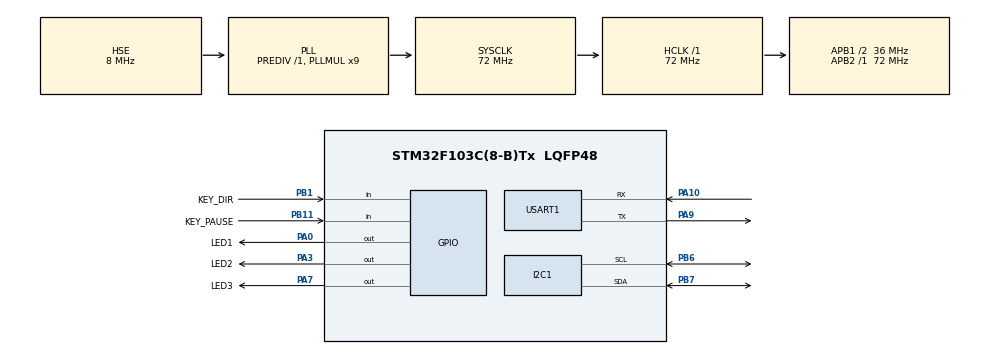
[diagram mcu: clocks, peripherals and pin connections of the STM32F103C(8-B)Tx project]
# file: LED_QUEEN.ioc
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Dma.Request0=USART1_TX
Dma.USART1_TX.0.Direction=DMA_MEMORY_TO_PERIPH
Dma.USART1_TX.0.Instance=DMA1_Channel4
Dma.USART1_TX.0.MemDataAlignment=DMA_MDATAALIGN_BYTE
Dma.USART1_TX.0.MemInc=DMA_MINC_ENABLE
Dma.USART1_TX.0.Mode=DMA_NORMAL
Dma.USART1_TX.0.PeriphDataAlignment=DMA_PDATAALIGN_BYTE
Dma.USART1_TX.0.PeriphInc=DMA_PINC_DISABLE
Dma.USART1_TX.0.Priority=DMA_PRIORITY_LOW
I2C1.I2C_Mode=I2C_Fast
Mcu.Family=STM32F1
Mcu.Name=STM32F103C(8-B)Tx
Mcu.Package=LQFP48
NVIC.DMA1_Channel4_IRQn=true\:0\:0\:false\:false\:true\:false\:true\:true
NVIC.PriorityGroup=NVIC_PRIORITYGROUP_4
NVIC.USART1_IRQn=true\:0\:0\:false\:false\:true\:true\:true\:true
PA0-WKUP.GPIO_Label=LED1
PA0-WKUP.Signal=GPIO_Output
PA10.Mode=Asynchronous
PA10.Signal=USART1_RX
PA13.Mode=Serial_Wire
PA13.Signal=SYS_JTMS-SWDIO
PA14.Mode=Serial_Wire
PA14.Signal=SYS_JTCK-SWCLK
PA3.GPIO_Label=LED2
PA3.Signal=GPIO_Output
PA7.GPIO_Label=LED3
PA7.Signal=GPIO_Output
PA9.Mode=Asynchronous
PA9.Signal=USART1_TX
PB1.GPIO_Label=KEY_DIR
PB1.GPIO_PuPd=GPIO_PULLUP
PB1.Signal=GPIO_Input
PB11.GPIO_Label=KEY_PAUSE
PB11.GPIO_PuPd=GPIO_PULLUP
PB11.Signal=GPIO_Input
PB6.Mode=I2C
PB6.Signal=I2C1_SCL
PB7.Mode=I2C
PB7.Signal=I2C1_SDA
PD0-OSC_IN.Mode=HSE-External-Oscillator
PD0-OSC_IN.Signal=RCC_OSC_IN
PD1-OSC_OUT.Mode=HSE-External-Oscillator
PD1-OSC_OUT.Signal=RCC_OSC_OUT
ProjectManager.HeapSize=0x200
ProjectManager.StackSize=0x400
ProjectManager.TargetToolchain=STM32CubeIDE
RCC.AHBFreq_Value=72000000
RCC.APB1CLKDivider=RCC_HCLK_DIV2
RCC.APB1Freq_Value=36000000
RCC.APB1TimFreq_Value=72000000
RCC.APB2Freq_Value=72000000
RCC.APB2TimFreq_Value=72000000
RCC.HCLKFreq_Value=72000000
RCC.PLLMUL=RCC_PLL_MUL9
RCC.PLLSourceVirtual=RCC_PLLSOURCE_HSE
RCC.SYSCLKFreq_VALUE=72000000
RCC.SYSCLKSource=RCC_SYSCLKSOURCE_PLLCLK
RCC.USBFreq_Value=72000000
USART1.VirtualMode=VM_ASYNC
board=custom

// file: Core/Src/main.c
/* USER CODE BEGIN Header */
/**
  ******************************************************************************
  * @file           : main.c
  * @brief          : Main program body
  ******************************************************************************
  * @attention
  *
  * Copyright (c) 2026 STMicroelectronics.
  * All rights reserved.
  *
  * This software is licensed under terms that can be found in the LICENSE file
  * in the root directory of this software component.
  * If no LICENSE file comes with this software, it is provided AS-IS.
  *
  ******************************************************************************
  */
/* USER CODE END Header */
#include "main.h"
#include "dma.h"
#include "i2c.h"
#include "usart.h"
#include "gpio.h"

/* USER CODE BEGIN Includes */
#include <stdio.h>
#include "OLED.h"
/* USER CODE END Includes */

/* USER CODE BEGIN PTD */
typedef struct
{
    uint8_t running;
    uint8_t dir;
    uint16_t step_ms;
    uint8_t led;
} RunState;

typedef struct
{
    uint8_t raw;
    uint8_t stable;
    uint32_t t_change;
} KeyState;

#define PKT_LEN  6
typedef struct
{
    uint8_t buf[PKT_LEN];
    uint8_t cnt;
} PktState;

/* USER CODE END PTD */

/* USER CODE BEGIN PD */
#define LED_N        3
#define STEP_DEFAULT 500

#define RB_SIZE 32

#define PKT_HEAD 0xAA
/* USER CODE END PD */

/* USER CODE BEGIN PV */
static RunState g_run = {1, 0, STEP_DEFAULT, 1};

static uint32_t g_led_tick = 0;

static KeyState g_key_dir = {1, 1, 0};
static KeyState g_key_pause = {1, 1, 0};

static uint8_t g_uart_ch = 0;

static volatile uint8_t g_rb[RB_SIZE];
static volatile uint8_t g_rb_head = 0;
static volatile uint8_t g_rb_tail = 0;

static PktState g_pkt = {{0}, 0};

static char g_tx_buf[64];
static volatile uint8_t g_tx_busy = 0;
static volatile uint8_t g_tx_pending = 0;

static RunState g_ui_last;
static uint8_t  g_ui_valid = 0;
/* USER CODE END PV */

void SystemClock_Config(void);

/* USER CODE BEGIN 0 */
static void Led_Show(uint8_t idx)
{
    HAL_GPIO_WritePin(LED1_GPIO_Port, LED1_Pin, (idx == 1) ? GPIO_PIN_SET : GPIO_PIN_RESET);
    HAL_GPIO_WritePin(LED2_GPIO_Port, LED2_Pin, (idx == 2) ? GPIO_PIN_SET : GPIO_PIN_RESET);
    HAL_GPIO_WritePin(LED3_GPIO_Port, LED3_Pin, (idx == 3) ? GPIO_PIN_SET : GPIO_PIN_RESET);
}

static uint8_t Led_Next(uint8_t cur, uint8_t dir)
{
    if (dir == 0)
        return (cur >= LED_N) ? 1 : (uint8_t)(cur + 1);
    return (cur <= 1) ? LED_N : (uint8_t)(cur - 1);
}

static uint8_t Key_Edge(KeyState* k, GPIO_TypeDef* port, uint16_t pin)
{
    uint8_t raw = (HAL_GPIO_ReadPin(port, pin) == GPIO_PIN_RESET) ? 0 : 1;

    if (raw != k->raw)
    {
        k->raw = raw;
        k->t_change = HAL_GetTick();
        return 0;
    }

    if (raw != k->stable && (HAL_GetTick() - k->t_change) >= 20)
    {
        k->stable = raw;
        return (uint8_t)(k->stable == 0);
    }

    return 0;
}

static void Uart_RequestFeedback(void)
{
    g_tx_pending = 1;
}

static void Rb_Put(uint8_t b)
{
    uint8_t next = (uint8_t)((g_rb_head + 1) & (RB_SIZE - 1));
    if (next == g_rb_tail) return;
    g_rb[g_rb_head] = b;
    g_rb_head = next;
}

static uint8_t Rb_Get(uint8_t* b)
{
    if (g_rb_tail == g_rb_head) return 0;
    *b = g_rb[g_rb_tail];
    g_rb_tail = (uint8_t)((g_rb_tail + 1) & (RB_SIZE - 1));
    return 1;
}

static uint8_t Pkt_Checksum(const uint8_t* p)
{
    uint16_t sum = 0;
    uint8_t i;
    for (i = 0; i < 5; i++) sum += p[i];
    return (uint8_t)(sum & 0xFF);
}

static void Proto_Apply(const uint8_t* p)
{
    uint8_t run = p[1];
    uint8_t dir = p[2];
    uint16_t ms = (uint16_t)((uint16_t)p[3] | ((uint16_t)p[4] << 8));

    if (run > 1 || dir > 1) return;
    if (ms < 100 || ms > 2000) return;

    g_run.running = run;
    g_run.dir = dir;
    g_run.step_ms = ms;
    g_led_tick = HAL_GetTick();

    Uart_RequestFeedback();
}

static void Proto_Poll(void)
{
    uint8_t b;

    while (Rb_Get(&b))
    {
        if (g_pkt.cnt == 0)
        {
            if (b == PKT_HEAD) g_pkt.buf[g_pkt.cnt++] = b;
            continue;
        }
        g_pkt.buf[g_pkt.cnt++] = b;

        if (g_pkt.cnt == PKT_LEN)
        {
            g_pkt.cnt = 0;
            if (g_pkt.buf[5] == Pkt_Checksum(g_pkt.buf))
                Proto_Apply(g_pkt.buf);
        }
    }
}

static void Feedback_Poll(void)
{
    int n;

    if (!g_tx_pending || g_tx_busy) return;
    g_tx_pending = 0;

    n = snprintf(g_tx_buf, sizeof g_tx_buf,
                 "STATE=%s,DIR=%s,STEP=%u,LED=%u\r\n",
                 g_run.running ? "RUN" : "PAUSE",
                 g_run.dir ? "REV" : "FWD",
                 (unsigned)g_run.step_ms,
                 (unsigned)g_run.led);

    if (n <= 0 || n >= (int)sizeof g_tx_buf) return;

    g_tx_busy = 1;
    if (HAL_UART_Transmit_DMA(&huart1, (const uint8_t*)g_tx_buf, (uint16_t)n) != HAL_OK)
        g_tx_busy = 0;
}

static void Ui_Refresh(void)
{
    char buf[8];
    uint8_t need_all;

    if (g_ui_valid &&
        g_ui_last.running == g_run.running &&
        g_ui_last.dir     == g_run.dir     &&
        g_ui_last.step_ms == g_run.step_ms &&
        g_ui_last.led     == g_run.led)
    {
        return;
    }

    need_all = (uint8_t)(!g_ui_valid ||
                         g_ui_last.running != g_run.running ||
                         g_ui_last.dir     != g_run.dir     ||
                         g_ui_last.step_ms != g_run.step_ms);

    g_ui_last  = g_run;
    g_ui_valid = 1;

    if (need_all)
    {
        OLED_ShowString(1, 1, "STATE:");
        OLED_ShowString(1, 7, g_run.running ? "RUN  " : "PAUSE");

        OLED_ShowString(2, 1, "DIR:  ");
        OLED_ShowString(2, 7, g_run.dir ? "REV" : "FWD");

        snprintf(buf, sizeof buf, "%4ums", (unsigned)g_run.step_ms);
        OLED_ShowString(3, 1, "STEP: ");
        OLED_ShowString(3, 7, buf);
    }

    snprintf(buf, sizeof buf, "%u", (unsigned)g_run.led);
    OLED_ShowString(4, 1, "LED:  ");
    OLED_ShowString(4, 7, buf);
}
/* USER CODE END 0 */

int main(void)
{

  /* MCU Configuration--------------------------------------------------------*/

  /* Reset of all peripherals, Initializes the Flash interface and the Systick. */
  HAL_Init();

  /* Configure the system clock */
  SystemClock_Config();

  /* Initialize all configured peripherals */
  MX_GPIO_Init();
  MX_DMA_Init();
  MX_USART1_UART_Init();
  MX_I2C1_Init();
  /* USER CODE BEGIN 2 */
    g_led_tick = HAL_GetTick();
    g_key_dir.t_change = HAL_GetTick();
    g_key_pause.t_change = HAL_GetTick();

    Led_Show(g_run.led);

    HAL_UART_Receive_IT(&huart1, &g_uart_ch, 1);
    Uart_RequestFeedback();

    OLED_Init();
  /* USER CODE END 2 */

  /* Infinite loop */
    while (1)
    {

    /* USER CODE BEGIN 3 */
        if (Key_Edge(&g_key_dir, KEY_DIR_GPIO_Port, KEY_DIR_Pin))
        {
            g_run.dir ^= 1;
            Uart_RequestFeedback();
        }

        if (Key_Edge(&g_key_pause, KEY_PAUSE_GPIO_Port, KEY_PAUSE_Pin))
        {
            g_run.running ^= 1;
            g_led_tick = HAL_GetTick();
            Uart_RequestFeedback();
        }

        if (g_run.running)
        {
            if (HAL_GetTick() - g_led_tick >= g_run.step_ms)
            {
                g_led_tick = HAL_GetTick();
                g_run.led = Led_Next(g_run.led, g_run.dir);
                Led_Show(g_run.led);
            }
        }
        else
        {
            g_led_tick = HAL_GetTick();
        }

        Proto_Poll();
        Feedback_Poll();
        Ui_Refresh();
    }
  /* USER CODE END 3 */
}

void SystemClock_Config(void)
{
  RCC_OscInitTypeDef RCC_OscInitStruct = {0};
  RCC_ClkInitTypeDef RCC_ClkInitStruct = {0};

  /** Initializes the RCC Oscillators according to the specified parameters
  * in the RCC_OscInitTypeDef structure.
  */
  RCC_OscInitStruct.OscillatorType = RCC_OSCILLATORTYPE_HSE;
  RCC_OscInitStruct.HSEState = RCC_HSE_ON;
  RCC_OscInitStruct.HSEPredivValue = RCC_HSE_PREDIV_DIV1;
  RCC_OscInitStruct.HSIState = RCC_HSI_ON;
  RCC_OscInitStruct.PLL.PLLState = RCC_PLL_ON;
  RCC_OscInitStruct.PLL.PLLSource = RCC_PLLSOURCE_HSE;
  RCC_OscInitStruct.PLL.PLLMUL = RCC_PLL_MUL9;
  if (HAL_RCC_OscConfig(&RCC_OscInitStruct) != HAL_OK)
  {
    Error_Handler();
  }

  /** Initializes the CPU, AHB and APB buses clocks
  */
  RCC_ClkInitStruct.ClockType = RCC_CLOCKTYPE_HCLK|RCC_CLOCKTYPE_SYSCLK
                              |RCC_CLOCKTYPE_PCLK1|RCC_CLOCKTYPE_PCLK2;
  RCC_ClkInitStruct.SYSCLKSource = RCC_SYSCLKSOURCE_PLLCLK;
  RCC_ClkInitStruct.AHBCLKDivider = RCC_SYSCLK_DIV1;
  RCC_ClkInitStruct.APB1CLKDivider = RCC_HCLK_DIV2;
  RCC_ClkInitStruct.APB2CLKDivider = RCC_HCLK_DIV1;

  if (HAL_RCC_ClockConfig(&RCC_ClkInitStruct, FLASH_LATENCY_2) != HAL_OK)
  {
    Error_Handler();
  }
}

/* USER CODE BEGIN 4 */
void HAL_UART_RxCpltCallback(UART_HandleTypeDef* huart)
{
    if (huart->Instance == USART1)
    {
        Rb_Put(g_uart_ch);
        HAL_UART_Receive_IT(&huart1, &g_uart_ch, 1);
    }
}

void HAL_UART_TxCpltCallback(UART_HandleTypeDef* huart)
{
    if (huart->Instance == USART1)
    {
        g_tx_busy = 0;
    }
}

/* USER CODE END 4 */

void Error_Handler(void)
{
    __disable_irq();
    while (1)
    {
    }
}
